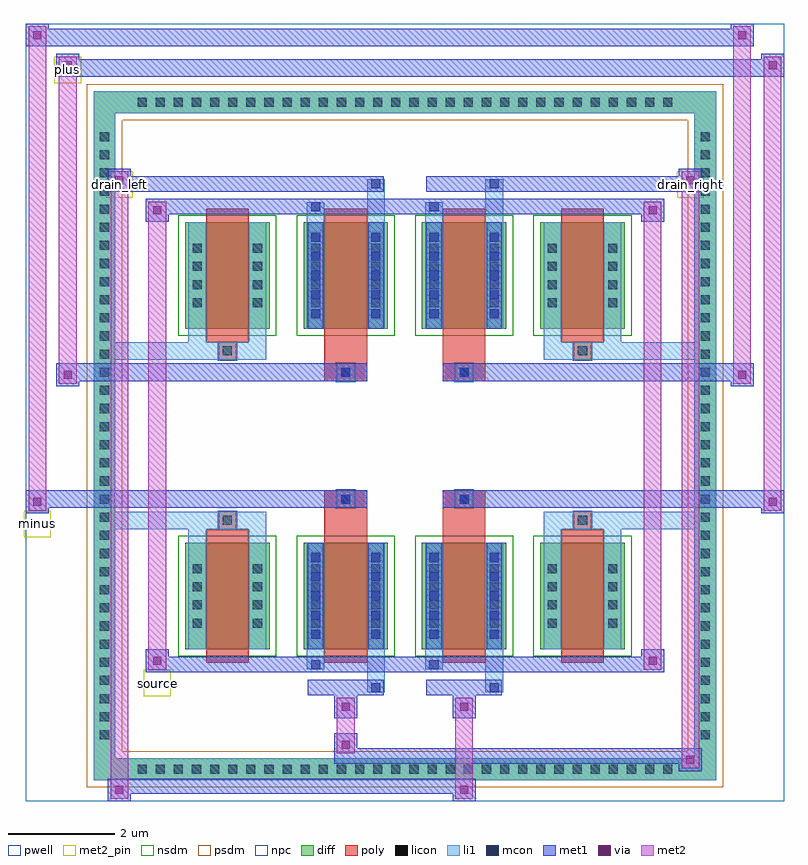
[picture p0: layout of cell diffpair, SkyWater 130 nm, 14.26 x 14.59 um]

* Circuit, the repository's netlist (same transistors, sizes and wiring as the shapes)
* NGSPICE file created from diffpair.ext - technology: sky130A

.subckt diffpair minus drain_right drain_left source plus
X0 a_n1168_n1292# a_n1168_n1292# a_n1168_n1292# a_n1168_n1292# sky130_fd_pr__nfet_01v8 ad=0.78 pd=4.78 as=6.24 ps=38.24 w=2 l=0.8
X1 drain_right minus source a_n1168_n1292# sky130_fd_pr__nfet_01v8 ad=0.78 pd=4.78 as=0.78 ps=4.78 w=2 l=0.8
X2 a_n1168_n1292# a_n1168_n1292# a_n1168_n1292# a_n1168_n1292# sky130_fd_pr__nfet_01v8 ad=0.78 pd=4.78 as=0 ps=0 w=2 l=0.8
X3 drain_right minus source a_n1168_n1292# sky130_fd_pr__nfet_01v8 ad=0.78 pd=4.78 as=0.78 ps=4.78 w=2 l=0.8
X4 drain_left plus source a_n1168_n1292# sky130_fd_pr__nfet_01v8 ad=0.78 pd=4.78 as=0.78 ps=4.78 w=2 l=0.8
X5 drain_left plus source a_n1168_n1292# sky130_fd_pr__nfet_01v8 ad=0.78 pd=4.78 as=0.78 ps=4.78 w=2 l=0.8
X6 a_n1168_n1292# a_n1168_n1292# a_n1168_n1292# a_n1168_n1292# sky130_fd_pr__nfet_01v8 ad=0.78 pd=4.78 as=0 ps=0 w=2 l=0.8
X7 a_n1168_n1292# a_n1168_n1292# a_n1168_n1292# a_n1168_n1292# sky130_fd_pr__nfet_01v8 ad=0.78 pd=4.78 as=0 ps=0 w=2 l=0.8
.ends

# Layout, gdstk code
import gdstk
lib = gdstk.Library(unit=1e-6, precision=5e-09)
def R(c, l, rs):  # rectangles x0, y0, x1, y1
    for r in rs: c.add(gdstk.rectangle(r[:2], r[2:], *l))
def A(c, l, x, y, w, h, nx, ny, dx, dy):  # array of equal rectangles
    R(c, l, [(x+i*dx, y+j*dy, x+i*dx+w, y+j*dy+h) for i in range(nx) for j in range(ny)])
def P(c, l, *ps):  # polygons
    for p in ps: c.add(gdstk.Polygon(p, *l))
pwell = (64, 44)
diff = (65, 20)
poly = (66, 20)
licon = (66, 44)
li1 = (67, 20)
mcon = (67, 44)
met1 = (68, 20)
via = (68, 44)
met2_pin = (69, 16)
met2 = (69, 20)
nsdm = (93, 44)
psdm = (94, 20)
npc = (95, 20)

diffpair = lib.new_cell('diffpair')
R(diffpair, pwell, [(-7.11,-6.86,7.11,7.73), (-4.43,-5.05,-0.01,-0.825), (0.01,-5.05,4.43,-0.825), (-4.43,0.825,-0.01,5.05), (0.01,0.825,4.43,5.05)])
A(diffpair, diff, -5.135, -6.46, 0.41, 0.41, 30, 2, 0.34, 12.51)
A(diffpair, diff, -5.84, -5.815, 0.41, 0.41, 1, 34, 0, 0.34)
A(diffpair, diff, 5.43, -5.815, 0.41, 0.41, 1, 34, 0, 0.34)
A(diffpair, diff, -4.12, -4.005, 1.58, 2, 4, 2, 2.22, 6.01)
R(diffpair, diff, [(-5.135,-6.46,5.135,-6.05), (-5.84,-5.815,-5.43,5.815), (5.43,-5.815,5.84,5.815), (-5.135,6.05,5.135,6.46)])
P(diffpair, diff, [(5.84,6.46),(-5.84,6.46),(-5.84,-6.05),(-5.43,-6.05),(-5.43,6.05),(5.43,6.05),(5.43,-6.05),(-5.43,-6.05),(-5.84,-6.05),(-5.84,-6.46),(5.84,-6.46)])
A(diffpair, poly, -3.73, -4.255, 0.8, 2.5, 4, 2, 2.22, 6.01)
R(diffpair, poly, [(-3.495,-1.755,-3.165,-1.425), (-3.495,-1.755,-3.165,-1.425), (-1.51,-1.755,-0.71,-1.355), (0.71,-1.755,1.51,-1.355), (3.165,-1.755,3.495,-1.425), (3.165,-1.755,3.495,-1.425), (-1.51,-1.355,-0.71,-1.025), (-1.275,-1.355,-0.945,-1.025), (0.71,-1.355,1.51,-1.025), (0.945,-1.355,1.275,-1.025), (-1.51,1.025,-0.71,1.355), (-1.275,1.025,-0.945,1.355), (0.71,1.025,1.51,1.355), (0.945,1.025,1.275,1.355), (-1.51,1.355,-0.71,1.755), (0.71,1.355,1.51,1.755), (-3.495,1.425,-3.165,1.755), (-3.495,1.425,-3.165,1.755), (3.165,1.425,3.495,1.755), (3.165,1.425,3.495,1.755)])
A(diffpair, licon, -5.015, -6.34, 0.17, 0.17, 30, 2, 0.34, 12.51)
A(diffpair, licon, -5.72, -5.695, 0.17, 0.17, 1, 34, 0, 0.34)
A(diffpair, licon, 5.55, -5.695, 0.17, 0.17, 1, 34, 0, 0.34)
A(diffpair, licon, -3.98, -3.6, 0.17, 0.17, 1, 4, 0, 0.34)
A(diffpair, licon, -2.85, -3.6, 0.17, 0.17, 1, 4, 0, 0.34)
A(diffpair, licon, -1.76, -3.6, 0.17, 0.17, 1, 4, 0, 0.34)
A(diffpair, licon, -0.63, -3.6, 0.17, 0.17, 1, 4, 0, 0.34)
A(diffpair, licon, 0.46, -3.6, 0.17, 0.17, 1, 4, 0, 0.34)
A(diffpair, licon, 1.59, -3.6, 0.17, 0.17, 1, 4, 0, 0.34)
A(diffpair, licon, 2.68, -3.6, 0.17, 0.17, 1, 4, 0, 0.34)
A(diffpair, licon, 3.81, -3.6, 0.17, 0.17, 1, 4, 0, 0.34)
A(diffpair, licon, -3.98, 2.41, 0.17, 0.17, 1, 4, 0, 0.34)
A(diffpair, licon, -2.85, 2.41, 0.17, 0.17, 1, 4, 0, 0.34)
A(diffpair, licon, -1.76, 2.41, 0.17, 0.17, 1, 4, 0, 0.34)
A(diffpair, licon, -0.63, 2.41, 0.17, 0.17, 1, 4, 0, 0.34)
A(diffpair, licon, 0.46, 2.41, 0.17, 0.17, 1, 4, 0, 0.34)
A(diffpair, licon, 1.59, 2.41, 0.17, 0.17, 1, 4, 0, 0.34)
A(diffpair, licon, 2.68, 2.41, 0.17, 0.17, 1, 4, 0, 0.34)
A(diffpair, licon, 3.81, 2.41, 0.17, 0.17, 1, 4, 0, 0.34)
R(diffpair, licon, [(-3.415,-1.675,-3.245,-1.505), (3.245,-1.675,3.415,-1.505), (-1.195,-1.275,-1.025,-1.105), (1.025,-1.275,1.195,-1.105), (-1.195,1.105,-1.025,1.275), (1.025,1.105,1.195,1.275), (-3.415,1.505,-3.245,1.675), (3.245,1.505,3.415,1.675)])
A(diffpair, li1, -5.095, -6.42, 0.33, 0.33, 30, 2, 0.34, 12.51)
A(diffpair, li1, -5.8, -5.775, 0.33, 0.33, 1, 34, 0, 0.34)
A(diffpair, li1, 5.47, -5.775, 0.33, 0.33, 1, 34, 0, 0.34)
A(diffpair, li1, -1.76, -3.81, 0.17, 0.17, 1, 5, 0, 0.36)
A(diffpair, li1, -0.63, -3.81, 0.17, 0.17, 1, 5, 0, 0.36)
A(diffpair, li1, 0.46, -3.81, 0.17, 0.17, 1, 5, 0, 0.36)
A(diffpair, li1, 1.59, -3.81, 0.17, 0.17, 1, 5, 0, 0.36)
A(diffpair, li1, -4.06, -3.68, 0.33, 0.33, 1, 4, 0, 0.34)
A(diffpair, li1, -2.93, -3.68, 0.33, 0.33, 1, 4, 0, 0.34)
A(diffpair, li1, -1.84, -3.68, 0.33, 0.33, 1, 4, 0, 0.34)
A(diffpair, li1, -0.71, -3.68, 0.33, 0.33, 1, 4, 0, 0.34)
A(diffpair, li1, 0.38, -3.68, 0.33, 0.33, 1, 4, 0, 0.34)
A(diffpair, li1, 1.51, -3.68, 0.33, 0.33, 1, 4, 0, 0.34)
A(diffpair, li1, 2.6, -3.68, 0.33, 0.33, 1, 4, 0, 0.34)
A(diffpair, li1, 3.73, -3.68, 0.33, 0.33, 1, 4, 0, 0.34)
A(diffpair, li1, -1.76, 2.2, 0.17, 0.17, 1, 5, 0, 0.36)
A(diffpair, li1, -0.63, 2.2, 0.17, 0.17, 1, 5, 0, 0.36)
A(diffpair, li1, 0.46, 2.2, 0.17, 0.17, 1, 5, 0, 0.36)
A(diffpair, li1, 1.59, 2.2, 0.17, 0.17, 1, 5, 0, 0.36)
A(diffpair, li1, -4.06, 2.33, 0.33, 0.33, 1, 4, 0, 0.34)
A(diffpair, li1, -2.93, 2.33, 0.33, 0.33, 1, 4, 0, 0.34)
A(diffpair, li1, -1.84, 2.33, 0.33, 0.33, 1, 4, 0, 0.34)
A(diffpair, li1, -0.71, 2.33, 0.33, 0.33, 1, 4, 0, 0.34)
A(diffpair, li1, 0.38, 2.33, 0.33, 0.33, 1, 4, 0, 0.34)
A(diffpair, li1, 1.51, 2.33, 0.33, 0.33, 1, 4, 0, 0.34)
A(diffpair, li1, 2.6, 2.33, 0.33, 0.33, 1, 4, 0, 0.34)
A(diffpair, li1, 3.73, 2.33, 0.33, 0.33, 1, 4, 0, 0.34)
R(diffpair, li1, [(-5.84,-6.46,-5.43,-6.05), (-5.84,-6.46,-5.43,-6.05), (-5.43,-6.46,5.43,-6.05), (5.43,-6.46,5.84,-6.05), (5.43,-6.46,5.84,-6.05), (-5.84,-6.05,-5.43,6.05), (5.43,-6.05,5.84,6.05), (-0.71,-4.81,-0.38,-4.005), (-0.63,-4.81,-0.46,-4.64), (1.51,-4.81,1.84,-4.005), (1.59,-4.81,1.76,-4.64), (-1.84,-4.38,-1.51,-4.005), (-1.76,-4.38,-1.59,-4.21), (0.38,-4.38,0.71,-4.005), (0.46,-4.38,0.63,-4.21), (-4.06,-4.005,-3.73,-2.005), (-2.93,-4.005,-2.6,-2.005), (-1.84,-4.005,-1.51,-2.005), (-0.71,-4.005,-0.38,-2.005), (0.38,-4.005,0.71,-2.005), (1.51,-4.005,1.84,-2.005), (2.6,-4.005,2.93,-2.005), (3.73,-4.005,4.06,-2.005), (-1.76,-3.81,-1.59,-2.2), (-0.63,-3.81,-0.46,-2.2), (0.46,-3.81,0.63,-2.2), (1.59,-3.81,1.76,-2.2), (-4.06,-2.005,-3.73,-1.425), (-2.93,-2.005,-2.6,-1.425), (2.6,-2.005,2.93,-1.425), (3.73,-2.005,4.06,-1.425), (-5.84,-1.755,-3.495,-1.425), (-4.06,-1.755,-3.495,-1.425), (-3.495,-1.755,-3.165,-1.425), (-3.165,-1.755,-2.6,-1.425), (2.6,-1.755,3.165,-1.425), (3.165,-1.755,3.495,-1.425), (3.165,-1.755,5.84,-1.425), (3.495,-1.755,4.06,-1.425), (-1.275,-1.355,-0.945,-1.025), (0.945,-1.355,1.275,-1.025), (-1.275,1.025,-0.945,1.355), (0.945,1.025,1.275,1.355), (-5.84,1.425,-3.495,1.755), (-4.06,1.425,-3.495,1.755), (-4.06,1.425,-3.73,2.005), (-3.495,1.425,-3.165,1.755), (-3.165,1.425,-2.6,1.755), (-2.93,1.425,-2.6,2.005), (2.6,1.425,3.165,1.755), (2.6,1.425,2.93,2.005), (3.165,1.425,3.495,1.755), (3.165,1.425,5.84,1.755), (3.495,1.425,4.06,1.755), (3.73,1.425,4.06,2.005), (-4.06,2.005,-3.73,4.005), (-2.93,2.005,-2.6,4.005), (-1.84,2.005,-1.51,4.005), (-0.71,2.005,-0.38,4.005), (0.38,2.005,0.71,4.005), (1.51,2.005,1.84,4.005), (2.6,2.005,2.93,4.005), (3.73,2.005,4.06,4.005), (-1.76,2.2,-1.59,3.81), (-0.63,2.2,-0.46,3.81), (0.46,2.2,0.63,3.81), (1.59,2.2,1.76,3.81), (-1.84,4.005,-1.51,4.38), (-0.71,4.005,-0.38,4.81), (0.38,4.005,0.71,4.38), (1.51,4.005,1.84,4.81), (-1.76,4.21,-1.59,4.38), (0.46,4.21,0.63,4.38), (-0.63,4.64,-0.46,4.81), (1.59,4.64,1.76,4.81), (-5.84,6.05,-5.43,6.46), (-5.84,6.05,-5.43,6.46), (-5.43,6.05,5.43,6.46), (5.43,6.05,5.84,6.46), (5.43,6.05,5.84,6.46)])
A(diffpair, mcon, -1.76, -3.81, 0.17, 0.17, 1, 5, 0, 0.36)
A(diffpair, mcon, -0.63, -3.81, 0.17, 0.17, 1, 5, 0, 0.36)
A(diffpair, mcon, 0.46, -3.81, 0.17, 0.17, 1, 5, 0, 0.36)
A(diffpair, mcon, 1.59, -3.81, 0.17, 0.17, 1, 5, 0, 0.36)
A(diffpair, mcon, -1.76, 2.2, 0.17, 0.17, 1, 5, 0, 0.36)
A(diffpair, mcon, -0.63, 2.2, 0.17, 0.17, 1, 5, 0, 0.36)
A(diffpair, mcon, 0.46, 2.2, 0.17, 0.17, 1, 5, 0, 0.36)
A(diffpair, mcon, 1.59, 2.2, 0.17, 0.17, 1, 5, 0, 0.36)
R(diffpair, mcon, [(-0.63,-4.81,-0.46,-4.64), (1.59,-4.81,1.76,-4.64), (-1.76,-4.38,-1.59,-4.21), (0.46,-4.38,0.63,-4.21), (-1.195,-1.275,-1.025,-1.105), (1.025,-1.275,1.195,-1.105), (-1.195,1.105,-1.025,1.275), (1.025,1.105,1.195,1.275), (-1.76,4.21,-1.59,4.38), (0.46,4.21,0.63,4.38), (-0.63,4.64,-0.46,4.81), (1.59,4.64,1.76,4.81)])
A(diffpair, met1, -1.82, -3.87, 0.29, 0.29, 1, 5, 0, 0.36)
A(diffpair, met1, -0.69, -3.87, 0.29, 0.29, 1, 5, 0, 0.36)
A(diffpair, met1, 0.4, -3.87, 0.29, 0.29, 1, 5, 0, 0.36)
A(diffpair, met1, 1.53, -3.87, 0.29, 0.29, 1, 5, 0, 0.36)
A(diffpair, met1, -1.82, 2.14, 0.29, 0.29, 1, 5, 0, 0.36)
A(diffpair, met1, -0.69, 2.14, 0.29, 0.29, 1, 5, 0, 0.36)
A(diffpair, met1, 0.4, 2.14, 0.29, 0.29, 1, 5, 0, 0.36)
A(diffpair, met1, 1.53, 2.14, 0.29, 0.29, 1, 5, 0, 0.36)
R(diffpair, met1, [(-5.57,-6.86,-5.14,-6.43), (0.895,-6.86,1.325,-6.43), (-5.57,-6.72,1.325,-6.43), (5.14,-6.29,5.57,-5.86), (-1.325,-6.15,5.57,-5.86), (-1.325,-6.01,-0.895,-5.58), (-1.325,-5.3,-0.895,-4.87), (0.895,-5.3,1.325,-4.87), (-1.82,-4.87,-0.4,-4.58), (-0.69,-4.87,-0.4,-4.58), (0.4,-4.87,1.82,-4.58), (1.53,-4.87,1.82,-4.58), (-4.86,-4.44,-4.43,-4.01), (-4.86,-4.44,-1.82,-4.15), (-1.82,-4.44,-1.53,-4.15), (-1.82,-4.44,-0.4,-4.15), (-0.4,-4.44,0.4,-4.15), (0.4,-4.44,0.69,-4.15), (0.4,-4.44,1.82,-4.15), (1.82,-4.44,4.86,-4.15), (4.43,-4.44,4.86,-4.01), (-1.82,-4.005,-1.53,-2.005), (-0.69,-4.005,-0.4,-2.005), (0.4,-4.005,0.69,-2.005), (1.53,-4.005,1.82,-2.005), (-7.11,-1.455,-6.68,-1.025), (6.68,-1.455,7.11,-1.025), (-7.11,-1.355,-0.71,-1.025), (-1.51,-1.355,-0.71,-1.025), (0.71,-1.355,1.51,-1.025), (0.71,-1.355,7.11,-1.025), (-1.255,-1.335,-0.965,-1.045), (0.965,-1.335,1.255,-1.045), (-6.54,0.925,-6.11,1.355), (6.11,0.925,6.54,1.355), (-6.54,1.025,-1.51,1.355), (-1.51,1.025,-0.71,1.355), (0.71,1.025,1.51,1.355), (1.51,1.025,6.54,1.355), (-1.255,1.045,-0.965,1.335), (0.965,1.045,1.255,1.335), (-1.82,2.005,-1.53,4.005), (-0.69,2.005,-0.4,4.005), (0.4,2.005,0.69,4.005), (1.53,2.005,1.82,4.005), (-4.86,4.01,-4.43,4.44), (4.43,4.01,4.86,4.44), (-4.86,4.15,-1.82,4.44), (-1.82,4.15,-1.53,4.44), (-1.82,4.15,-0.4,4.44), (-0.4,4.15,0.4,4.44), (0.4,4.15,0.69,4.44), (0.4,4.15,1.82,4.44), (1.82,4.15,4.86,4.44), (-5.57,4.58,-5.14,5.01), (-5.57,4.58,-1.82,4.87), (-1.82,4.58,-0.4,4.87), (-0.69,4.58,-0.4,4.87), (0.4,4.58,1.82,4.87), (1.53,4.58,1.82,4.87), (1.82,4.58,5.57,4.87), (5.14,4.58,5.57,5.01), (-6.54,6.73,-6.11,7.16), (-6.54,6.73,-4.43,7.06), (-4.43,6.73,4.43,7.06), (4.43,6.73,7.11,7.06), (6.68,6.73,7.11,7.16), (-7.11,7.3,-6.68,7.73), (-7.11,7.3,-4.43,7.63), (-4.43,7.3,4.43,7.63), (4.43,7.3,6.54,7.63), (6.11,7.3,6.54,7.73)])
R(diffpair, via, [(-5.43,-6.72,-5.28,-6.57), (1.035,-6.72,1.185,-6.57), (5.28,-6.15,5.43,-6), (-1.185,-5.87,-1.035,-5.72), (-1.185,-5.16,-1.035,-5.01), (1.035,-5.16,1.185,-5.01), (-4.72,-4.3,-4.57,-4.15), (4.57,-4.3,4.72,-4.15), (-6.97,-1.315,-6.82,-1.165), (6.82,-1.315,6.97,-1.165), (-6.4,1.065,-6.25,1.215), (6.25,1.065,6.4,1.215), (-4.72,4.15,-4.57,4.3), (4.57,4.15,4.72,4.3), (-5.43,4.72,-5.28,4.87), (5.28,4.72,5.43,4.87), (-6.4,6.87,-6.25,7.02), (6.82,6.87,6.97,7.02), (-6.97,7.44,-6.82,7.59), (6.25,7.44,6.4,7.59)])
R(diffpair, met2_pin, [(-4.895,-4.89,-4.395,-4.39), (-7.145,-1.905,-6.645,-1.405), (-5.605,4.46,-5.105,4.96), (5.105,4.46,5.605,4.96), (-6.575,6.61,-6.075,7.11)])
R(diffpair, met2, [(-5.52,-6.81,-5.19,-6.48), (-5.52,-6.81,-5.19,4.96), (0.945,-6.81,1.275,-6.48), (0.945,-6.48,1.275,-5.25), (5.19,-6.24,5.52,-5.91), (5.19,-6.24,5.52,4.96), (-1.275,-5.96,-0.945,-5.63), (-1.275,-5.63,-0.945,-5.25), (-1.275,-5.25,-0.945,-4.92), (0.945,-5.25,1.275,-4.92), (-4.81,-4.39,-4.48,-4.06), (-4.81,-4.39,-4.48,4.39), (4.48,-4.39,4.81,-4.06), (4.48,-4.39,4.81,4.39), (-7.06,-1.405,-6.73,-1.075), (-7.06,-1.405,-6.73,7.68), (6.73,-1.405,7.06,-1.075), (6.73,-1.405,7.06,7.11), (-6.49,0.975,-6.16,1.305), (-6.49,0.975,-6.16,7.11), (6.16,0.975,6.49,1.305), (6.16,0.975,6.49,7.68), (-4.81,4.06,-4.48,4.39), (4.48,4.06,4.81,4.39), (-5.52,4.63,-5.19,4.96), (5.19,4.63,5.52,4.96), (-6.49,6.78,-6.16,7.11), (6.73,6.78,7.06,7.11), (-7.06,7.35,-6.73,7.68), (6.16,7.35,6.49,7.68)])
P(diffpair, met2, [(7.06,-1.405),(7.06,-1.405),(7.06,-1.075),(7.06,-1.075)],
  [(7.06,6.78),(7.06,6.78),(7.06,7.11),(7.06,7.11)],
  [(-6.73,-1.405),(-6.73,-1.405),(-6.73,-1.075),(-6.73,-1.075)],
  [(-6.73,7.35),(-6.73,7.35),(-6.73,7.68),(-6.73,7.68)],
  [(6.49,0.975),(6.49,0.975),(6.49,1.305),(6.49,1.305)],
  [(6.49,7.35),(6.49,7.35),(6.49,7.68),(6.49,7.68)],
  [(-6.16,0.975),(-6.16,0.975),(-6.16,1.305),(-6.16,1.305)],
  [(-6.16,6.78),(-6.16,6.78),(-6.16,7.11),(-6.16,7.11)],
  [(-5.19,-6.81),(-5.19,-6.81),(-5.19,-6.48),(-5.19,-6.48)],
  [(-5.19,4.63),(-5.19,4.63),(-5.19,4.96),(-5.19,4.96)],
  [(5.52,-6.24),(5.52,-6.24),(5.52,-5.91),(5.52,-5.91)],
  [(5.52,4.63),(5.52,4.63),(5.52,4.96),(5.52,4.96)],
  [(-4.48,-4.39),(-4.48,-4.39),(-4.48,-4.06),(-4.48,-4.06)],
  [(-4.48,4.06),(-4.48,4.06),(-4.48,4.39),(-4.48,4.39)],
  [(4.81,-4.39),(4.81,-4.39),(4.81,-4.06),(4.81,-4.06)],
  [(4.81,4.06),(4.81,4.06),(4.81,4.39),(4.81,4.39)])
A(diffpair, nsdm, -4.25, -4.135, 1.84, 2.26, 4, 2, 2.22, 6.01)
P(diffpair, psdm, [(5.97,6.59),(-5.97,6.59),(-5.97,-5.92),(-5.3,-5.92),(-5.3,5.92),(5.3,5.92),(5.3,-5.92),(-5.3,-5.92),(-5.97,-5.92),(-5.97,-6.59),(5.97,-6.59)])
R(diffpair, npc, [(-3.515,-1.775,-3.145,-1.405), (3.145,-1.775,3.515,-1.405), (-1.295,-1.375,-0.925,-1.005), (0.925,-1.375,1.295,-1.005), (-1.295,1.005,-0.925,1.375), (0.925,1.005,1.295,1.375), (-3.515,1.405,-3.145,1.775), (3.145,1.405,3.515,1.775)])
diffpair.add(gdstk.Label('minus', (-6.895,-1.655), layer=69, texttype=5))
diffpair.add(gdstk.Label('drain_right', (5.355,4.71), layer=69, texttype=5))
diffpair.add(gdstk.Label('drain_left', (-5.355,4.71), layer=69, texttype=5))
diffpair.add(gdstk.Label('source', (-4.645,-4.64), layer=69, texttype=5))
diffpair.add(gdstk.Label('plus', (-6.325,6.86), layer=69, texttype=5))

lib.write_gds('diffpair.gds')
